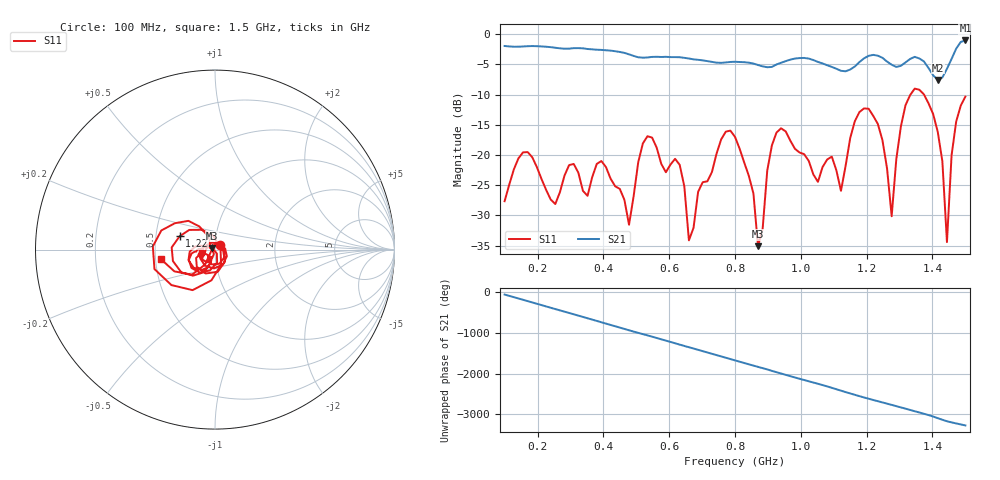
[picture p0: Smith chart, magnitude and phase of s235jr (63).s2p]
! NanoVNA-App
! Date: 2025-09-26 09:45:16
! Start: 100MHz Stop: 1,5GHz Points: 101
! S-Parameter data: F S11 S21 S12 S22
# Hz S RI R 50
!  Frequency  S11_Real  S11_Imag  S21_Real  S21_Imag  S12_Real  S12_Imag  S22_Real  S22_Imag
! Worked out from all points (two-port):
!   101 points, 100 MHz to 1.5 GHz, reference 50 ohm
!   highest |S21| = -1.04 dB at 1.5 GHz (marker M1); lowest = -7.6 dB at 1.416 GHz (marker M2)
!   |S21| within 3 dB of the highest: start of sweep to 661.4 MHz; 1.191 GHz to 1.251 GHz (59.72 MHz wide, 4.89 % of centre) (the widest 2 of 5)
!   lowest |S11| = -35.1 dB at 870 MHz (marker M3), VSWR 1.04, Z = 48.5 + j0.923 ohm
!   |S11| at or under -10 dB: start of sweep to 1.333 GHz; 1.374 GHz to end of sweep
!   S12 and S22 are empty: the file has one direction only
!   S11 on the Smith chart (normalised r, x): 100 MHz: 1.06, +0.06; 1.22 GHz: 0.66, +0.10; 1.5 GHz: 0.54, -0.07
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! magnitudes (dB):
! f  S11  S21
! 100 MHz  -27.6  -2.0
! 156 MHz  -19.6  -2.0
! 338 MHz  -25.9  -2.3
! 394 MHz  -21.0  -2.6
! 478 MHz  -31.5  -3.3
! 520 MHz  -18.1  -3.9
! 576 MHz  -21.5  -3.8
! 632 MHz  -21.6  -3.8
! 660 MHz  -34.1  -4.0
! 800 MHz  -17.0  -4.6
! 870 MHz  -35.1  -5.1
! 926 MHz  -16.3  -5.0
! 1.038 GHz  -23.2  -4.3
! 1.122 GHz  -25.9  -6.1
! 1.164 GHz  -14.4  -5.4
! 1.22 GHz  -13.5  -3.4
! 1.276 GHz  -30.1  -5.1
! 1.332 GHz  -10.1  -4.1
! 1.416 GHz  -16.2  -7.6
! 1.444 GHz  -34.4  -5.7
! 1.458 GHz  -20.1  -4.1
! 1.5 GHz  -10.3  -1.0
